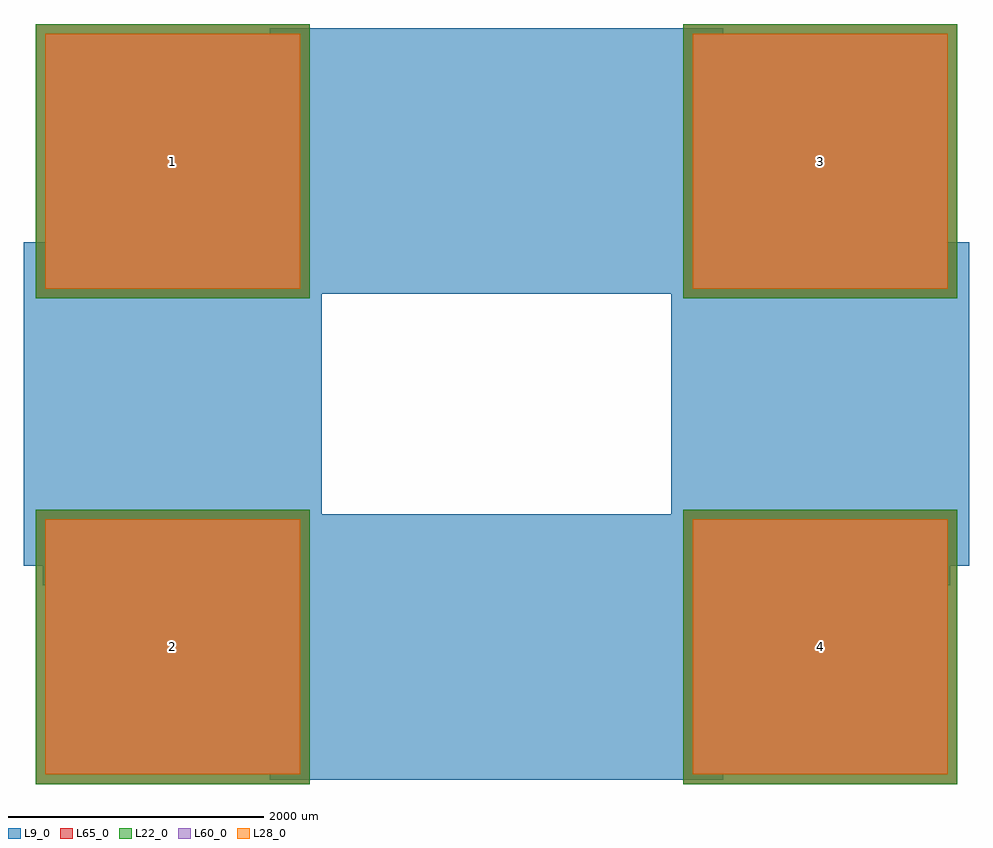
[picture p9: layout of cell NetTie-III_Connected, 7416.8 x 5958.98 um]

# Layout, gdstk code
import gdstk
lib = gdstk.Library(unit=1e-6, precision=1e-09)
def R(c, l, rs):  # rectangles x0, y0, x1, y1
    for r in rs: c.add(gdstk.rectangle(r[:2], r[2:], *l))
L9_0 = (9, 0)
L22_0 = (22, 0)
L28_0 = (28, 0)
L60_0 = (60, 0)
L65_0 = (65, 0)

nettie_iii_connected = lib.new_cell('NetTie-III_Connected')
R(nettie_iii_connected, L22_0, [(-3614.49,-2979.49,-1465.51,-830.51), (1465.51,-2979.49,3614.49,-830.51), (-3614.49,830.51,-1465.51,2979.49), (1465.51,830.51,3614.49,2979.49)])
R(nettie_iii_connected, L28_0, [(-3539.49,-2904.49,-1540.51,-905.51), (1540.51,-2904.49,3539.49,-905.51), (-3539.49,905.51,-1540.51,2904.49), (1540.51,905.51,3539.49,2904.49)])
R(nettie_iii_connected, L60_0, [(-3539.49,-2904.49,-1540.51,-905.51), (1540.51,-2904.49,3539.49,-905.51), (-3539.49,905.51,-1540.51,2904.49), (1540.51,905.51,3539.49,2904.49)])
R(nettie_iii_connected, L65_0, [(-3614.49,-2979.49,-1465.51,-830.51), (1465.51,-2979.49,3614.49,-830.51), (-3614.49,830.51,-1465.51,2979.49), (1465.51,830.51,3614.49,2979.49)])
nettie_iii_connected.add(gdstk.FlexPath([(-1778,1016),(1778,1016)], 304.8, ends="flush", simple_path=True, layer=9, datatype=0))  # L9_0
nettie_iii_connected.add(gdstk.FlexPath([(-1778,1270),(1778,1270)], 304.8, ends="flush", simple_path=True, layer=9, datatype=0))  # L9_0
nettie_iii_connected.add(gdstk.FlexPath([(-1778,1524),(1778,1524)], 304.8, ends="flush", simple_path=True, layer=9, datatype=0))  # L9_0
nettie_iii_connected.add(gdstk.FlexPath([(-1778,1778),(1778,1778)], 304.8, ends="flush", simple_path=True, layer=9, datatype=0))  # L9_0
nettie_iii_connected.add(gdstk.FlexPath([(-1778,2032),(1778,2032)], 304.8, ends="flush", simple_path=True, layer=9, datatype=0))  # L9_0
nettie_iii_connected.add(gdstk.FlexPath([(-1778,2286),(1778,2286)], 304.8, ends="flush", simple_path=True, layer=9, datatype=0))  # L9_0
nettie_iii_connected.add(gdstk.FlexPath([(-1778,2540),(1778,2540)], 304.8, ends="flush", simple_path=True, layer=9, datatype=0))  # L9_0
nettie_iii_connected.add(gdstk.FlexPath([(-1778,2794),(1778,2794)], 304.8, ends="flush", simple_path=True, layer=9, datatype=0))  # L9_0
nettie_iii_connected.add(gdstk.FlexPath([(-1524,-1016),(1778,-1016)], 304.8, ends="flush", simple_path=True, layer=9, datatype=0))  # L9_0
nettie_iii_connected.add(gdstk.FlexPath([(-1778,-1016),(-1524,-1016)], 304.8, ends="flush", simple_path=True, layer=9, datatype=0))  # L9_0
nettie_iii_connected.add(gdstk.FlexPath([(-1778,-1270),(1778,-1270)], 304.8, ends="flush", simple_path=True, layer=9, datatype=0))  # L9_0
nettie_iii_connected.add(gdstk.FlexPath([(-1778,-1524),(1778,-1524)], 304.8, ends="flush", simple_path=True, layer=9, datatype=0))  # L9_0
nettie_iii_connected.add(gdstk.FlexPath([(-1778,-1778),(1778,-1778)], 304.8, ends="flush", simple_path=True, layer=9, datatype=0))  # L9_0
nettie_iii_connected.add(gdstk.FlexPath([(-1778,-2032),(1778,-2032)], 304.8, ends="flush", simple_path=True, layer=9, datatype=0))  # L9_0
nettie_iii_connected.add(gdstk.FlexPath([(-1778,-2286),(1778,-2286)], 304.8, ends="flush", simple_path=True, layer=9, datatype=0))  # L9_0
nettie_iii_connected.add(gdstk.FlexPath([(1778,-2540),(-1778,-2540)], 304.8, ends="flush", simple_path=True, layer=9, datatype=0))  # L9_0
nettie_iii_connected.add(gdstk.FlexPath([(-1778,-2794),(1778,-2794)], 304.8, ends="flush", simple_path=True, layer=9, datatype=0))  # L9_0
nettie_iii_connected.add(gdstk.FlexPath([(-3556,1016),(-3556,-1270)], 304.8, ends="flush", simple_path=True, layer=9, datatype=0))  # L9_0
nettie_iii_connected.add(gdstk.FlexPath([(-3556,1016),(-3556,1270)], 304.8, ends="flush", simple_path=True, layer=9, datatype=0))  # L9_0
nettie_iii_connected.add(gdstk.FlexPath([(-3302,1270),(-3302,-1270)], 304.8, ends="flush", simple_path=True, layer=9, datatype=0))  # L9_0
nettie_iii_connected.add(gdstk.FlexPath([(-3048,1270),(-3048,-1270)], 304.8, ends="flush", simple_path=True, layer=9, datatype=0))  # L9_0
nettie_iii_connected.add(gdstk.FlexPath([(-2794,1270),(-2794,-1270)], 304.8, ends="flush", simple_path=True, layer=9, datatype=0))  # L9_0
nettie_iii_connected.add(gdstk.FlexPath([(-2286,1270),(-2286,-1270)], 304.8, ends="flush", simple_path=True, layer=9, datatype=0))  # L9_0
nettie_iii_connected.add(gdstk.FlexPath([(-2032,-1270),(-2032,1270)], 304.8, ends="flush", simple_path=True, layer=9, datatype=0))  # L9_0
nettie_iii_connected.add(gdstk.FlexPath([(-1778,1270),(-1778,-1270)], 304.8, ends="flush", simple_path=True, layer=9, datatype=0))  # L9_0
nettie_iii_connected.add(gdstk.FlexPath([(-1524,-1270),(-1524,1270)], 304.8, ends="flush", simple_path=True, layer=9, datatype=0))  # L9_0
nettie_iii_connected.add(gdstk.FlexPath([(3556,-1270),(3556,1270)], 304.8, ends="flush", simple_path=True, layer=9, datatype=0))  # L9_0
nettie_iii_connected.add(gdstk.FlexPath([(3302,1270),(3302,-1270)], 304.8, ends="flush", simple_path=True, layer=9, datatype=0))  # L9_0
nettie_iii_connected.add(gdstk.FlexPath([(3048,-1270),(3048,1270)], 304.8, ends="flush", simple_path=True, layer=9, datatype=0))  # L9_0
nettie_iii_connected.add(gdstk.FlexPath([(2794,1270),(2794,-1270)], 304.8, ends="flush", simple_path=True, layer=9, datatype=0))  # L9_0
nettie_iii_connected.add(gdstk.FlexPath([(2286,1270),(2286,-1270)], 304.8, ends="flush", simple_path=True, layer=9, datatype=0))  # L9_0
nettie_iii_connected.add(gdstk.FlexPath([(2032,-1270),(2032,1270)], 304.8, ends="flush", simple_path=True, layer=9, datatype=0))  # L9_0
nettie_iii_connected.add(gdstk.FlexPath([(1778,1270),(1778,-1270)], 304.8, ends="flush", simple_path=True, layer=9, datatype=0))  # L9_0
nettie_iii_connected.add(gdstk.FlexPath([(1524,-1270),(1524,1270)], 304.8, ends="flush", simple_path=True, layer=9, datatype=0))  # L9_0
nettie_iii_connected.add(gdstk.FlexPath([(-2540,1016),(-2540,-1016)], 304.8, ends="flush", simple_path=True, layer=9, datatype=0))  # L9_0
nettie_iii_connected.add(gdstk.FlexPath([(2540,1016),(2540,-1016)], 304.8, ends="flush", simple_path=True, layer=9, datatype=0))  # L9_0
nettie_iii_connected.add(gdstk.FlexPath([(-2794,-1270),(-2794,1270)], 304.8, ends="flush", simple_path=True, layer=9, datatype=0))  # L9_0
nettie_iii_connected.add(gdstk.FlexPath([(-3048,-1270),(-2794,-1270)], 304.8, ends="flush", simple_path=True, layer=9, datatype=0))  # L9_0
nettie_iii_connected.add(gdstk.FlexPath([(-3048,1270),(-3048,-1270)], 304.8, ends="flush", simple_path=True, layer=9, datatype=0))  # L9_0
nettie_iii_connected.add(gdstk.FlexPath([(-3302,1270),(-3048,1270)], 304.8, ends="flush", simple_path=True, layer=9, datatype=0))  # L9_0
nettie_iii_connected.add(gdstk.FlexPath([(-3302,-1270),(-3302,1270)], 304.8, ends="flush", simple_path=True, layer=9, datatype=0))  # L9_0
nettie_iii_connected.add(gdstk.FlexPath([(-3556,-1270),(-3302,-1270)], 304.8, ends="flush", simple_path=True, layer=9, datatype=0))  # L9_0
nettie_iii_connected.add(gdstk.FlexPath([(-3556,1270),(-3556,-1270)], 304.8, ends="flush", simple_path=True, layer=9, datatype=0))  # L9_0
nettie_iii_connected.add(gdstk.FlexPath([(-1524,1270),(-1524,-1270)], 304.8, ends="flush", simple_path=True, layer=9, datatype=0))  # L9_0
nettie_iii_connected.add(gdstk.FlexPath([(-1778,1270),(-1524,1270)], 304.8, ends="flush", simple_path=True, layer=9, datatype=0))  # L9_0
nettie_iii_connected.add(gdstk.FlexPath([(-1778,-1270),(-1778,1270)], 304.8, ends="flush", simple_path=True, layer=9, datatype=0))  # L9_0
nettie_iii_connected.add(gdstk.FlexPath([(-2032,-1270),(-1778,-1270)], 304.8, ends="flush", simple_path=True, layer=9, datatype=0))  # L9_0
nettie_iii_connected.add(gdstk.FlexPath([(-2032,1270),(-2032,-1270)], 304.8, ends="flush", simple_path=True, layer=9, datatype=0))  # L9_0
nettie_iii_connected.add(gdstk.FlexPath([(-2286,1270),(-2032,1270)], 304.8, ends="flush", simple_path=True, layer=9, datatype=0))  # L9_0
nettie_iii_connected.add(gdstk.FlexPath([(-2286,-1270),(-2286,1270)], 304.8, ends="flush", simple_path=True, layer=9, datatype=0))  # L9_0
nettie_iii_connected.add(gdstk.FlexPath([(-2540,1016),(-2540,-1016)], 304.8, ends="flush", simple_path=True, layer=9, datatype=0))  # L9_0
nettie_iii_connected.add(gdstk.FlexPath([(-1778,1016),(1778,1016)], 304.8, ends="flush", simple_path=True, layer=9, datatype=0))  # L9_0
nettie_iii_connected.add(gdstk.FlexPath([(-1778,1270),(-1778,1016)], 304.8, ends="flush", simple_path=True, layer=9, datatype=0))  # L9_0
nettie_iii_connected.add(gdstk.FlexPath([(1778,1270),(-1778,1270)], 304.8, ends="flush", simple_path=True, layer=9, datatype=0))  # L9_0
nettie_iii_connected.add(gdstk.FlexPath([(1778,1524),(1778,1270)], 304.8, ends="flush", simple_path=True, layer=9, datatype=0))  # L9_0
nettie_iii_connected.add(gdstk.FlexPath([(1524,1524),(1778,1524)], 304.8, ends="flush", simple_path=True, layer=9, datatype=0))  # L9_0
nettie_iii_connected.add(gdstk.FlexPath([(-1778,1524),(1524,1524)], 304.8, ends="flush", simple_path=True, layer=9, datatype=0))  # L9_0
nettie_iii_connected.add(gdstk.FlexPath([(-1778,1778),(-1778,1524)], 304.8, ends="flush", simple_path=True, layer=9, datatype=0))  # L9_0
nettie_iii_connected.add(gdstk.FlexPath([(1778,1778),(-1778,1778)], 304.8, ends="flush", simple_path=True, layer=9, datatype=0))  # L9_0
nettie_iii_connected.add(gdstk.FlexPath([(1778,2032),(1778,1778)], 304.8, ends="flush", simple_path=True, layer=9, datatype=0))  # L9_0
nettie_iii_connected.add(gdstk.FlexPath([(-1778,2032),(1778,2032)], 304.8, ends="flush", simple_path=True, layer=9, datatype=0))  # L9_0
nettie_iii_connected.add(gdstk.FlexPath([(-1778,2286),(-1778,2032)], 304.8, ends="flush", simple_path=True, layer=9, datatype=0))  # L9_0
nettie_iii_connected.add(gdstk.FlexPath([(1778,2286),(-1778,2286)], 304.8, ends="flush", simple_path=True, layer=9, datatype=0))  # L9_0
nettie_iii_connected.add(gdstk.FlexPath([(1778,2540),(1778,2286)], 304.8, ends="flush", simple_path=True, layer=9, datatype=0))  # L9_0
nettie_iii_connected.add(gdstk.FlexPath([(-1778,2540),(1778,2540)], 304.8, ends="flush", simple_path=True, layer=9, datatype=0))  # L9_0
nettie_iii_connected.add(gdstk.FlexPath([(-1778,2794),(-1778,2540)], 304.8, ends="flush", simple_path=True, layer=9, datatype=0))  # L9_0
nettie_iii_connected.add(gdstk.FlexPath([(1778,2794),(-1778,2794)], 304.8, ends="flush", simple_path=True, layer=9, datatype=0))  # L9_0
nettie_iii_connected.add(gdstk.FlexPath([(1778,-762),(1778,-1016)], 304.8, ends="flush", simple_path=True, layer=9, datatype=0))  # L9_0
nettie_iii_connected.add(gdstk.FlexPath([(1778,-1016),(1778,-762)], 304.8, ends="flush", simple_path=True, layer=9, datatype=0))  # L9_0
nettie_iii_connected.add(gdstk.FlexPath([(-1778,-1016),(1778,-1016)], 304.8, ends="flush", simple_path=True, layer=9, datatype=0))  # L9_0
nettie_iii_connected.add(gdstk.FlexPath([(-1778,-1270),(-1778,-1016)], 304.8, ends="flush", simple_path=True, layer=9, datatype=0))  # L9_0
nettie_iii_connected.add(gdstk.FlexPath([(1778,-1270),(-1778,-1270)], 304.8, ends="flush", simple_path=True, layer=9, datatype=0))  # L9_0
nettie_iii_connected.add(gdstk.FlexPath([(1778,-1524),(1778,-1270)], 304.8, ends="flush", simple_path=True, layer=9, datatype=0))  # L9_0
nettie_iii_connected.add(gdstk.FlexPath([(-1778,-1524),(1778,-1524)], 304.8, ends="flush", simple_path=True, layer=9, datatype=0))  # L9_0
nettie_iii_connected.add(gdstk.FlexPath([(-1778,-1778),(-1778,-1524)], 304.8, ends="flush", simple_path=True, layer=9, datatype=0))  # L9_0
nettie_iii_connected.add(gdstk.FlexPath([(1778,-1778),(-1778,-1778)], 304.8, ends="flush", simple_path=True, layer=9, datatype=0))  # L9_0
nettie_iii_connected.add(gdstk.FlexPath([(1778,-2032),(1778,-1778)], 304.8, ends="flush", simple_path=True, layer=9, datatype=0))  # L9_0
nettie_iii_connected.add(gdstk.FlexPath([(-1778,-2032),(1778,-2032)], 304.8, ends="flush", simple_path=True, layer=9, datatype=0))  # L9_0
nettie_iii_connected.add(gdstk.FlexPath([(-1778,-2286),(-1778,-2032)], 304.8, ends="flush", simple_path=True, layer=9, datatype=0))  # L9_0
nettie_iii_connected.add(gdstk.FlexPath([(1778,-2286),(-1778,-2286)], 304.8, ends="flush", simple_path=True, layer=9, datatype=0))  # L9_0
nettie_iii_connected.add(gdstk.FlexPath([(1778,-2540),(1778,-2286)], 304.8, ends="flush", simple_path=True, layer=9, datatype=0))  # L9_0
nettie_iii_connected.add(gdstk.FlexPath([(-1778,-2540),(1778,-2540)], 304.8, ends="flush", simple_path=True, layer=9, datatype=0))  # L9_0
nettie_iii_connected.add(gdstk.FlexPath([(-1778,-2794),(-1778,-2540)], 304.8, ends="flush", simple_path=True, layer=9, datatype=0))  # L9_0
nettie_iii_connected.add(gdstk.FlexPath([(1778,-2794),(-1778,-2794)], 304.8, ends="flush", simple_path=True, layer=9, datatype=0))  # L9_0
nettie_iii_connected.add(gdstk.FlexPath([(2286,-1270),(2286,1270)], 304.8, ends="flush", simple_path=True, layer=9, datatype=0))  # L9_0
nettie_iii_connected.add(gdstk.FlexPath([(2032,-1270),(2286,-1270)], 304.8, ends="flush", simple_path=True, layer=9, datatype=0))  # L9_0
nettie_iii_connected.add(gdstk.FlexPath([(2032,1270),(2032,-1270)], 304.8, ends="flush", simple_path=True, layer=9, datatype=0))  # L9_0
nettie_iii_connected.add(gdstk.FlexPath([(1778,1270),(2032,1270)], 304.8, ends="flush", simple_path=True, layer=9, datatype=0))  # L9_0
nettie_iii_connected.add(gdstk.FlexPath([(1778,-1270),(1778,1270)], 304.8, ends="flush", simple_path=True, layer=9, datatype=0))  # L9_0
nettie_iii_connected.add(gdstk.FlexPath([(1524,-1270),(1778,-1270)], 304.8, ends="flush", simple_path=True, layer=9, datatype=0))  # L9_0
nettie_iii_connected.add(gdstk.FlexPath([(1524,1270),(1524,-1270)], 304.8, ends="flush", simple_path=True, layer=9, datatype=0))  # L9_0
nettie_iii_connected.add(gdstk.FlexPath([(2794,-1270),(2794,1270)], 304.8, ends="flush", simple_path=True, layer=9, datatype=0))  # L9_0
nettie_iii_connected.add(gdstk.FlexPath([(3048,-1270),(2794,-1270)], 304.8, ends="flush", simple_path=True, layer=9, datatype=0))  # L9_0
nettie_iii_connected.add(gdstk.FlexPath([(3048,1270),(3048,-1270)], 304.8, ends="flush", simple_path=True, layer=9, datatype=0))  # L9_0
nettie_iii_connected.add(gdstk.FlexPath([(3302,1270),(3048,1270)], 304.8, ends="flush", simple_path=True, layer=9, datatype=0))  # L9_0
nettie_iii_connected.add(gdstk.FlexPath([(3302,-1270),(3302,1270)], 304.8, ends="flush", simple_path=True, layer=9, datatype=0))  # L9_0
nettie_iii_connected.add(gdstk.FlexPath([(3556,-1270),(3302,-1270)], 304.8, ends="flush", simple_path=True, layer=9, datatype=0))  # L9_0
nettie_iii_connected.add(gdstk.FlexPath([(3556,1270),(3556,-1270)], 304.8, ends="flush", simple_path=True, layer=9, datatype=0))  # L9_0
nettie_iii_connected.add(gdstk.FlexPath([(2540,1016),(2540,-1016)], 304.8, ends="flush", simple_path=True, layer=9, datatype=0))  # L9_0
nettie_iii_connected.add(gdstk.Label('4', (2540,-1905), layer=28, texttype=0))
nettie_iii_connected.add(gdstk.Label('3', (2540,1905), layer=28, texttype=0))
nettie_iii_connected.add(gdstk.Label('2', (-2540,-1905), layer=28, texttype=0))
nettie_iii_connected.add(gdstk.Label('1', (-2540,1905), layer=28, texttype=0))
nettie_iii_connected.add(gdstk.Label('type', (254,4318), layer=9, texttype=0))
nettie_iii_connected.add(gdstk.Label('devicename', (254,-5080), layer=9, texttype=0))

lib.write_gds('NetTie-III_Connected.gds')
